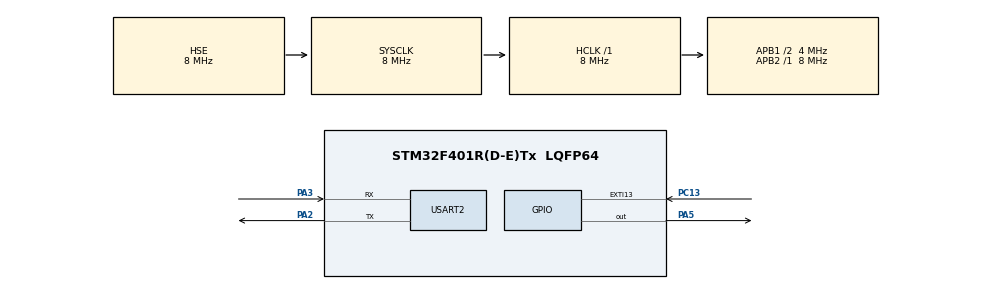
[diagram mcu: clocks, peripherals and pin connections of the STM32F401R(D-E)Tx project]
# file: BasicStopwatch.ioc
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Mcu.Family=STM32F4
Mcu.Name=STM32F401R(D-E)Tx
Mcu.Package=LQFP64
NVIC.EXTI15_10_IRQn=true\:0\:0\:false\:false\:true\:true\:true\:true
NVIC.PriorityGroup=NVIC_PRIORITYGROUP_0
NVIC.TIM1_TRG_COM_TIM11_IRQn=true\:0\:1\:false\:false\:true\:true\:true\:true
PA2.Mode=Asynchronous
PA2.Signal=USART2_TX
PA3.Mode=Asynchronous
PA3.Signal=USART2_RX
PA5.Signal=GPIO_Output
PB3.GPIO_Label=SWO
PB3.Signal=SYS_JTDO-SWO
PC13-ANTI_TAMP.GPIO_ModeDefaultEXTI=GPIO_MODE_IT_FALLING
PC13-ANTI_TAMP.Signal=GPXTI13
PH0\ -\ OSC_IN.Mode=HSE-External-Clock-Source
PH0\ -\ OSC_IN.Signal=RCC_OSC_IN
PH1\ -\ OSC_OUT.Mode=HSE-External-Clock-Source
PH1\ -\ OSC_OUT.Signal=RCC_OSC_OUT
ProjectManager.HeapSize=0x200
ProjectManager.StackSize=0x400
ProjectManager.TargetToolchain=CMake
RCC.48MHZClocksFreq_Value=24000000
RCC.AHBFreq_Value=8000000
RCC.APB1CLKDivider=RCC_HCLK_DIV2
RCC.APB1Freq_Value=4000000
RCC.APB1TimFreq_Value=8000000
RCC.APB2Freq_Value=8000000
RCC.APB2TimFreq_Value=8000000
RCC.CortexFreq_Value=8000000
RCC.EnbaleCSS=true
RCC.HCLKFreq_Value=8000000
RCC.HSE_VALUE=8000000
RCC.HSI_VALUE=16000000
RCC.LSE_VALUE=32768
RCC.PLLN=336
RCC.PLLP=RCC_PLLP_DIV4
RCC.PLLQ=7
RCC.PLLSourceVirtual=RCC_PLLSOURCE_HSE
RCC.SYSCLKFreq_VALUE=8000000
RCC.SYSCLKSource=RCC_SYSCLKSOURCE_HSE
RCC.VCOOutputFreq_Value=168000000
TIM11.Period=1-1
TIM11.Prescaler=8000-1
USART2.VirtualMode=VM_ASYNC
VP_TIM11_VS_ClockSourceINT.Mode=Enable_Timer
board=NUCLEO-F401RE

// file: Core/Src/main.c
/* USER CODE BEGIN Header */
/**
  ******************************************************************************
  * @file           : main.c
  * @brief          : Main program body
  ******************************************************************************
  * @attention
  *
  * Copyright (c) 2025 STMicroelectronics.
  * All rights reserved.
  *
  * This software is licensed under terms that can be found in the LICENSE file
  * in the root directory of this software component.
  * If no LICENSE file comes with this software, it is provided AS-IS.
  *
  ******************************************************************************
  */
/* USER CODE END Header */
#include "main.h"

/* USER CODE BEGIN Includes */
#include <string.h>
#include <stdio.h>
/* USER CODE END Includes */

TIM_HandleTypeDef htim11;

UART_HandleTypeDef huart2;

/* USER CODE BEGIN PV */
typedef struct
{
  /* data */
  uint8_t  sec, min, hour;
  uint16_t miliSec;
}StopWatch;

volatile StopWatch stopWatch;

/* USER CODE END PV */

void SystemClock_Config(void);
static void MX_GPIO_Init(void);
static void MX_TIM11_Init(void);
static void MX_USART2_UART_Init(void);

/* USER CODE BEGIN 0 */

void HAL_TIM_PeriodElapsedCallback(TIM_HandleTypeDef *htim)
{
  // static uint8_t miliSec, sec, min, hour;

  if(htim->Instance == TIM11){
    char msg[20];

    stopWatch.miliSec++;
    if(stopWatch.miliSec == 1000) {stopWatch.sec++; stopWatch.miliSec = 0;}
    if(stopWatch.sec == 60) {stopWatch.min++; stopWatch.sec = 0;}
    if(stopWatch.min == 60) {stopWatch.hour++; stopWatch.min = 0;}

  }

}

void HAL_GPIO_EXTI_Callback(uint16_t GPIO_Pin){
  static uint8_t mode = 0;

  if(GPIO_Pin == GPIO_PIN_13){

    if(mode == 0){
      HAL_TIM_Base_Start_IT(&htim11);

    }

    if(mode == 1){
      HAL_TIM_Base_Stop_IT(&htim11);

    }

    mode = !mode;

  }

}

/* USER CODE END 0 */

int main(void)
{

  /* MCU Configuration--------------------------------------------------------*/

  /* Reset of all peripherals, Initializes the Flash interface and the Systick. */
  HAL_Init();

  /* Configure the system clock */
  SystemClock_Config();

  /* Initialize all configured peripherals */
  MX_GPIO_Init();
  MX_TIM11_Init();
  MX_USART2_UART_Init();
  /* USER CODE BEGIN 2 */

  // uint8_t *miliSec;
  // uint8_t sec, min, hour ;
  char msg[20];
  /* USER CODE END 2 */

  /* Infinite loop */
  while (1)
  {

    /* USER CODE BEGIN 3 */
    sprintf(msg, "%02d:%02d:%02d.%03d\r\n",stopWatch.hour,stopWatch.min,stopWatch.sec,stopWatch.miliSec);
    HAL_UART_Transmit(&huart2, (uint8_t *)msg, strlen(msg),10);
    HAL_Delay(100);

  }
  /* USER CODE END 3 */
}

void SystemClock_Config(void)
{
  RCC_OscInitTypeDef RCC_OscInitStruct = {0};
  RCC_ClkInitTypeDef RCC_ClkInitStruct = {0};

  /** Configure the main internal regulator output voltage
  */
  __HAL_RCC_PWR_CLK_ENABLE();
  __HAL_PWR_VOLTAGESCALING_CONFIG(PWR_REGULATOR_VOLTAGE_SCALE2);

  /** Initializes the RCC Oscillators according to the specified parameters
  * in the RCC_OscInitTypeDef structure.
  */
  RCC_OscInitStruct.OscillatorType = RCC_OSCILLATORTYPE_HSE;
  RCC_OscInitStruct.HSEState = RCC_HSE_BYPASS;
  RCC_OscInitStruct.PLL.PLLState = RCC_PLL_NONE;
  if (HAL_RCC_OscConfig(&RCC_OscInitStruct) != HAL_OK)
  {
    Error_Handler();
  }

  /** Initializes the CPU, AHB and APB buses clocks
  */
  RCC_ClkInitStruct.ClockType = RCC_CLOCKTYPE_HCLK|RCC_CLOCKTYPE_SYSCLK
                              |RCC_CLOCKTYPE_PCLK1|RCC_CLOCKTYPE_PCLK2;
  RCC_ClkInitStruct.SYSCLKSource = RCC_SYSCLKSOURCE_HSE;
  RCC_ClkInitStruct.AHBCLKDivider = RCC_SYSCLK_DIV1;
  RCC_ClkInitStruct.APB1CLKDivider = RCC_HCLK_DIV2;
  RCC_ClkInitStruct.APB2CLKDivider = RCC_HCLK_DIV1;

  if (HAL_RCC_ClockConfig(&RCC_ClkInitStruct, FLASH_LATENCY_0) != HAL_OK)
  {
    Error_Handler();
  }

  /** Enables the Clock Security System
  */
  HAL_RCC_EnableCSS();
}

static void MX_TIM11_Init(void)
{

  htim11.Instance = TIM11;
  htim11.Init.Prescaler = 8-1;
  htim11.Init.CounterMode = TIM_COUNTERMODE_UP;
  htim11.Init.Period = 1000-1;
  htim11.Init.ClockDivision = TIM_CLOCKDIVISION_DIV1;
  htim11.Init.AutoReloadPreload = TIM_AUTORELOAD_PRELOAD_DISABLE;
  if (HAL_TIM_Base_Init(&htim11) != HAL_OK)
  {
    Error_Handler();
  }

}

static void MX_USART2_UART_Init(void)
{

  huart2.Instance = USART2;
  huart2.Init.BaudRate = 115200;
  huart2.Init.WordLength = UART_WORDLENGTH_8B;
  huart2.Init.StopBits = UART_STOPBITS_1;
  huart2.Init.Parity = UART_PARITY_NONE;
  huart2.Init.Mode = UART_MODE_TX_RX;
  huart2.Init.HwFlowCtl = UART_HWCONTROL_NONE;
  huart2.Init.OverSampling = UART_OVERSAMPLING_16;
  if (HAL_UART_Init(&huart2) != HAL_OK)
  {
    Error_Handler();
  }

}

static void MX_GPIO_Init(void)
{
  GPIO_InitTypeDef GPIO_InitStruct = {0};

  /* GPIO Ports Clock Enable */
  __HAL_RCC_GPIOC_CLK_ENABLE();
  __HAL_RCC_GPIOH_CLK_ENABLE();
  __HAL_RCC_GPIOA_CLK_ENABLE();
  __HAL_RCC_GPIOB_CLK_ENABLE();

  /*Configure GPIO pin Output Level */
  HAL_GPIO_WritePin(GPIOA, GPIO_PIN_5, GPIO_PIN_RESET);

  /*Configure GPIO pin : PC13 */
  GPIO_InitStruct.Pin = GPIO_PIN_13;
  GPIO_InitStruct.Mode = GPIO_MODE_IT_FALLING;
  GPIO_InitStruct.Pull = GPIO_NOPULL;
  HAL_GPIO_Init(GPIOC, &GPIO_InitStruct);

  /*Configure GPIO pin : PA5 */
  GPIO_InitStruct.Pin = GPIO_PIN_5;
  GPIO_InitStruct.Mode = GPIO_MODE_OUTPUT_PP;
  GPIO_InitStruct.Pull = GPIO_NOPULL;
  GPIO_InitStruct.Speed = GPIO_SPEED_FREQ_LOW;
  HAL_GPIO_Init(GPIOA, &GPIO_InitStruct);

  /* EXTI interrupt init*/
  HAL_NVIC_SetPriority(EXTI15_10_IRQn, 0, 0);
  HAL_NVIC_EnableIRQ(EXTI15_10_IRQn);

}

void Error_Handler(void)
{
  __disable_irq();
  while (1)
  {
  }
}
